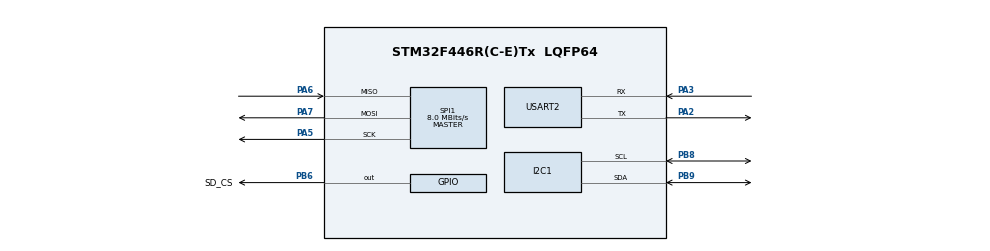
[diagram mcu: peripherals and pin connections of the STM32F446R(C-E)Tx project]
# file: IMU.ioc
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Dma.I2C1_RX.0.Direction=DMA_PERIPH_TO_MEMORY
Dma.I2C1_RX.0.FIFOMode=DMA_FIFOMODE_DISABLE
Dma.I2C1_RX.0.Instance=DMA1_Stream0
Dma.I2C1_RX.0.MemDataAlignment=DMA_MDATAALIGN_BYTE
Dma.I2C1_RX.0.MemInc=DMA_MINC_ENABLE
Dma.I2C1_RX.0.Mode=DMA_NORMAL
Dma.I2C1_RX.0.PeriphDataAlignment=DMA_PDATAALIGN_BYTE
Dma.I2C1_RX.0.PeriphInc=DMA_PINC_DISABLE
Dma.I2C1_RX.0.Priority=DMA_PRIORITY_LOW
Dma.I2C1_TX.1.Direction=DMA_MEMORY_TO_PERIPH
Dma.I2C1_TX.1.FIFOMode=DMA_FIFOMODE_DISABLE
Dma.I2C1_TX.1.Instance=DMA1_Stream6
Dma.I2C1_TX.1.MemDataAlignment=DMA_MDATAALIGN_BYTE
Dma.I2C1_TX.1.MemInc=DMA_MINC_ENABLE
Dma.I2C1_TX.1.Mode=DMA_NORMAL
Dma.I2C1_TX.1.PeriphDataAlignment=DMA_PDATAALIGN_BYTE
Dma.I2C1_TX.1.PeriphInc=DMA_PINC_DISABLE
Dma.I2C1_TX.1.Priority=DMA_PRIORITY_LOW
Dma.Request0=I2C1_RX
Dma.Request1=I2C1_TX
Dma.Request2=SPI1_RX
Dma.Request3=SPI1_TX
Dma.SPI1_RX.2.Direction=DMA_PERIPH_TO_MEMORY
Dma.SPI1_RX.2.FIFOMode=DMA_FIFOMODE_DISABLE
Dma.SPI1_RX.2.Instance=DMA2_Stream0
Dma.SPI1_RX.2.MemDataAlignment=DMA_MDATAALIGN_BYTE
Dma.SPI1_RX.2.MemInc=DMA_MINC_ENABLE
Dma.SPI1_RX.2.Mode=DMA_NORMAL
Dma.SPI1_RX.2.PeriphDataAlignment=DMA_PDATAALIGN_BYTE
Dma.SPI1_RX.2.PeriphInc=DMA_PINC_DISABLE
Dma.SPI1_RX.2.Priority=DMA_PRIORITY_LOW
Dma.SPI1_TX.3.Direction=DMA_MEMORY_TO_PERIPH
Dma.SPI1_TX.3.FIFOMode=DMA_FIFOMODE_DISABLE
Dma.SPI1_TX.3.Instance=DMA2_Stream3
Dma.SPI1_TX.3.MemDataAlignment=DMA_MDATAALIGN_BYTE
Dma.SPI1_TX.3.MemInc=DMA_MINC_ENABLE
Dma.SPI1_TX.3.Mode=DMA_NORMAL
Dma.SPI1_TX.3.PeriphDataAlignment=DMA_PDATAALIGN_BYTE
Dma.SPI1_TX.3.PeriphInc=DMA_PINC_DISABLE
Dma.SPI1_TX.3.Priority=DMA_PRIORITY_LOW
Mcu.Family=STM32F4
Mcu.Name=STM32F446R(C-E)Tx
Mcu.Package=LQFP64
NVIC.DMA1_Stream0_IRQn=true\:0\:0\:false\:false\:true\:false\:true\:true
NVIC.DMA1_Stream6_IRQn=true\:0\:0\:false\:false\:true\:false\:true\:true
NVIC.DMA2_Stream0_IRQn=true\:0\:0\:false\:false\:true\:false\:true\:true
NVIC.DMA2_Stream3_IRQn=true\:0\:0\:false\:false\:true\:false\:true\:true
NVIC.PriorityGroup=NVIC_PRIORITYGROUP_4
PA2.Mode=Asynchronous
PA2.Signal=USART2_TX
PA3.Mode=Asynchronous
PA3.Signal=USART2_RX
PA5.Mode=Full_Duplex_Master
PA5.Signal=SPI1_SCK
PA6.Mode=Full_Duplex_Master
PA6.Signal=SPI1_MISO
PA7.Mode=Full_Duplex_Master
PA7.Signal=SPI1_MOSI
PB6.GPIO_Label=SD_CS
PB6.Signal=GPIO_Output
PB8.Mode=I2C
PB8.Signal=I2C1_SCL
PB9.Mode=I2C
PB9.Signal=I2C1_SDA
ProjectManager.HeapSize=0x200
ProjectManager.StackSize=0x400
ProjectManager.TargetToolchain=STM32CubeIDE
RCC.CortexFreq_Value=16000000
RCC.USBFreq_Value=96000000
RCC.VCOOutputFreq_Value=192000000
SPI1.CalculateBaudRate=8.0 MBits/s
SPI1.Direction=SPI_DIRECTION_2LINES
SPI1.Mode=SPI_MODE_MASTER
SPI1.VirtualType=VM_MASTER
USART2.VirtualMode=VM_ASYNC
VP_FATFS_VS_Generic.Mode=User_defined
board=custom

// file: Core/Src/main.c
/* USER CODE BEGIN Header */
/**
  ******************************************************************************
  * @file           : main.c
  * @brief          : Main program body
  ******************************************************************************
  * @attention
  *
  * Copyright (c) 2025 STMicroelectronics.
  * All rights reserved.
  *
  * This software is licensed under terms that can be found in the LICENSE file
  * in the root directory of this software component.
  * If no LICENSE file comes with this software, it is provided AS-IS.
  *
  ******************************************************************************
  */
/* USER CODE END Header */
#include "main.h"
#include "fatfs.h"

/* USER CODE BEGIN Includes */
#include "bno055.h"
#include "bno055_support.h"
#include <string.h>
#include <stdio.h>
/* USER CODE END Includes */

I2C_HandleTypeDef hi2c1;
DMA_HandleTypeDef hdma_i2c1_rx;
DMA_HandleTypeDef hdma_i2c1_tx;

SPI_HandleTypeDef hspi1;
DMA_HandleTypeDef hdma_spi1_rx;
DMA_HandleTypeDef hdma_spi1_tx;

UART_HandleTypeDef huart2;

void SystemClock_Config(void);
static void MX_GPIO_Init(void);
static void MX_DMA_Init(void);
static void MX_I2C1_Init(void);
static void MX_USART2_UART_Init(void);
static void MX_SPI1_Init(void);

/* USER CODE BEGIN 0 */
struct bno055_euler_float_t euler_data;
/* USER CODE END 0 */

int main(void)
{

  /* MCU Configuration--------------------------------------------------------*/

  /* Reset of all peripherals, Initializes the Flash interface and the Systick. */
  HAL_Init();

  /* Configure the system clock */
  SystemClock_Config();

  /* Initialize all configured peripherals */
  MX_GPIO_Init();
  MX_DMA_Init();
  MX_I2C1_Init();
  MX_USART2_UART_Init();
  MX_SPI1_Init();
  MX_FATFS_Init();
  /* USER CODE BEGIN 2 */

  I2C_routine();
  bno055_initialize_sensor();
  MX_FATFS_Init();
  FRESULT res = f_mount(&SDFatFS, SDPath, 1);
  if (res != FR_OK) {
      const char *msg = "ERROR: SD Card mount failed!\r\n";
      HAL_UART_Transmit(&huart2, (uint8_t *)msg, strlen(msg), HAL_MAX_DELAY);
  }

  HAL_Delay(1000);

  /* USER CODE END 2 */

  /* Infinite loop */
  /* USER CODE BEGIN WHILE */
  while (1)
  {
	    bno055_get_readings();
	    HAL_Delay(100);
    /* USER CODE END WHILE */

  }
}

void SystemClock_Config(void)
{
  RCC_OscInitTypeDef RCC_OscInitStruct = {0};
  RCC_ClkInitTypeDef RCC_ClkInitStruct = {0};

  /** Configure the main internal regulator output voltage
  */
  __HAL_RCC_PWR_CLK_ENABLE();
  __HAL_PWR_VOLTAGESCALING_CONFIG(PWR_REGULATOR_VOLTAGE_SCALE3);

  /** Initializes the RCC Oscillators according to the specified parameters
  * in the RCC_OscInitTypeDef structure.
  */
  RCC_OscInitStruct.OscillatorType = RCC_OSCILLATORTYPE_HSI;
  RCC_OscInitStruct.HSIState = RCC_HSI_ON;
  RCC_OscInitStruct.HSICalibrationValue = RCC_HSICALIBRATION_DEFAULT;
  RCC_OscInitStruct.PLL.PLLState = RCC_PLL_NONE;
  if (HAL_RCC_OscConfig(&RCC_OscInitStruct) != HAL_OK)
  {
    Error_Handler();
  }

  /** Initializes the CPU, AHB and APB buses clocks
  */
  RCC_ClkInitStruct.ClockType = RCC_CLOCKTYPE_HCLK|RCC_CLOCKTYPE_SYSCLK
                              |RCC_CLOCKTYPE_PCLK1|RCC_CLOCKTYPE_PCLK2;
  RCC_ClkInitStruct.SYSCLKSource = RCC_SYSCLKSOURCE_HSI;
  RCC_ClkInitStruct.AHBCLKDivider = RCC_SYSCLK_DIV1;
  RCC_ClkInitStruct.APB1CLKDivider = RCC_HCLK_DIV1;
  RCC_ClkInitStruct.APB2CLKDivider = RCC_HCLK_DIV1;

  if (HAL_RCC_ClockConfig(&RCC_ClkInitStruct, FLASH_LATENCY_0) != HAL_OK)
  {
    Error_Handler();
  }
}

static void MX_I2C1_Init(void)
{

  hi2c1.Instance = I2C1;
  hi2c1.Init.ClockSpeed = 100000;
  hi2c1.Init.DutyCycle = I2C_DUTYCYCLE_2;
  hi2c1.Init.OwnAddress1 = 0;
  hi2c1.Init.AddressingMode = I2C_ADDRESSINGMODE_7BIT;
  hi2c1.Init.DualAddressMode = I2C_DUALADDRESS_DISABLE;
  hi2c1.Init.OwnAddress2 = 0;
  hi2c1.Init.GeneralCallMode = I2C_GENERALCALL_DISABLE;
  hi2c1.Init.NoStretchMode = I2C_NOSTRETCH_DISABLE;
  if (HAL_I2C_Init(&hi2c1) != HAL_OK)
  {
    Error_Handler();
  }

}

static void MX_SPI1_Init(void)
{

  /* SPI1 parameter configuration*/
  hspi1.Instance = SPI1;
  hspi1.Init.Mode = SPI_MODE_MASTER;
  hspi1.Init.Direction = SPI_DIRECTION_2LINES;
  hspi1.Init.DataSize = SPI_DATASIZE_8BIT;
  hspi1.Init.CLKPolarity = SPI_POLARITY_LOW;
  hspi1.Init.CLKPhase = SPI_PHASE_1EDGE;
  hspi1.Init.NSS = SPI_NSS_SOFT;
  hspi1.Init.BaudRatePrescaler = SPI_BAUDRATEPRESCALER_2;
  hspi1.Init.FirstBit = SPI_FIRSTBIT_MSB;
  hspi1.Init.TIMode = SPI_TIMODE_DISABLE;
  hspi1.Init.CRCCalculation = SPI_CRCCALCULATION_DISABLE;
  hspi1.Init.CRCPolynomial = 10;
  if (HAL_SPI_Init(&hspi1) != HAL_OK)
  {
    Error_Handler();
  }

}

static void MX_USART2_UART_Init(void)
{

  huart2.Instance = USART2;
  huart2.Init.BaudRate = 115200;
  huart2.Init.WordLength = UART_WORDLENGTH_8B;
  huart2.Init.StopBits = UART_STOPBITS_1;
  huart2.Init.Parity = UART_PARITY_NONE;
  huart2.Init.Mode = UART_MODE_TX_RX;
  huart2.Init.HwFlowCtl = UART_HWCONTROL_NONE;
  huart2.Init.OverSampling = UART_OVERSAMPLING_16;
  if (HAL_UART_Init(&huart2) != HAL_OK)
  {
    Error_Handler();
  }

}

static void MX_DMA_Init(void)
{

  /* DMA controller clock enable */
  __HAL_RCC_DMA1_CLK_ENABLE();
  __HAL_RCC_DMA2_CLK_ENABLE();

  /* DMA interrupt init */
  /* DMA1_Stream0_IRQn interrupt configuration */
  HAL_NVIC_SetPriority(DMA1_Stream0_IRQn, 0, 0);
  HAL_NVIC_EnableIRQ(DMA1_Stream0_IRQn);
  /* DMA1_Stream6_IRQn interrupt configuration */
  HAL_NVIC_SetPriority(DMA1_Stream6_IRQn, 0, 0);
  HAL_NVIC_EnableIRQ(DMA1_Stream6_IRQn);
  /* DMA2_Stream0_IRQn interrupt configuration */
  HAL_NVIC_SetPriority(DMA2_Stream0_IRQn, 0, 0);
  HAL_NVIC_EnableIRQ(DMA2_Stream0_IRQn);
  /* DMA2_Stream3_IRQn interrupt configuration */
  HAL_NVIC_SetPriority(DMA2_Stream3_IRQn, 0, 0);
  HAL_NVIC_EnableIRQ(DMA2_Stream3_IRQn);

}

static void MX_GPIO_Init(void)
{
  GPIO_InitTypeDef GPIO_InitStruct = {0};

  /* GPIO Ports Clock Enable */
  __HAL_RCC_GPIOA_CLK_ENABLE();
  __HAL_RCC_GPIOB_CLK_ENABLE();

  /*Configure GPIO pin Output Level */
  HAL_GPIO_WritePin(SD_CS_GPIO_Port, SD_CS_Pin, GPIO_PIN_RESET);

  /*Configure GPIO pin : SD_CS_Pin */
  GPIO_InitStruct.Pin = SD_CS_Pin;
  GPIO_InitStruct.Mode = GPIO_MODE_OUTPUT_PP;
  GPIO_InitStruct.Pull = GPIO_NOPULL;
  GPIO_InitStruct.Speed = GPIO_SPEED_FREQ_LOW;
  HAL_GPIO_Init(SD_CS_GPIO_Port, &GPIO_InitStruct);

}

void Error_Handler(void)
{
  __disable_irq();
  while (1)
  {
  }
}
